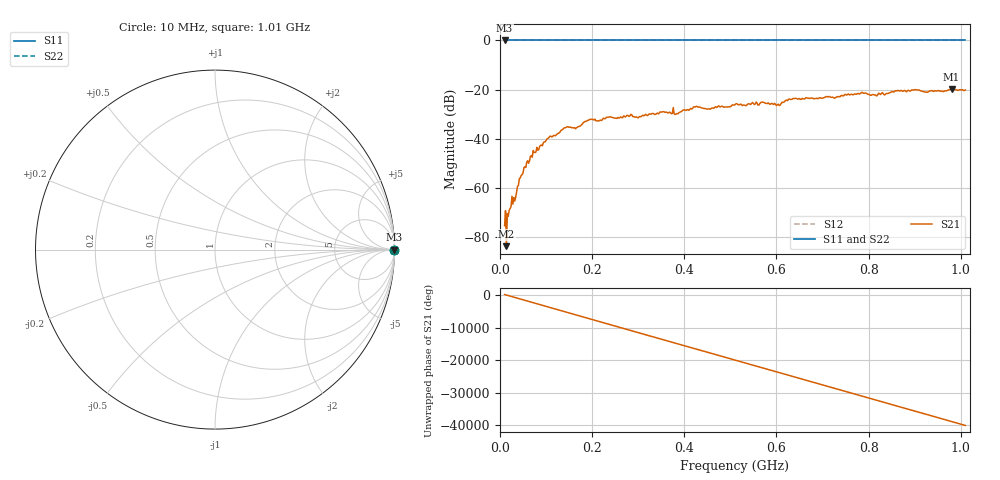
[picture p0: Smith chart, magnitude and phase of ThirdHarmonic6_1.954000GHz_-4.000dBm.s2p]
! 8/16/2025 11:31:20 PM
! C:\ANRITSUVNA\TEMP\TEMP.S2P
! CHANNEL.1
! TR.MEASUREMENT
! RAW.DATA
! RF.CORRECTION.OFF
! AVERAGING.OFF
! IF.BANDWIDTH: 5KHZ
! SWEEPTYPE:  FREQ.SWEEP(Linear)
! Reference Plane Port Info
! PORT:  PORT1  PORT2
! DISTANCE:  0  m  0  m
! TIME:  0  s  0  s
! PHASE.OFFSET:  0  deg.  0  deg.
! LOSS:  0  dB  0  dB
! REF.LOSS:  0  dB  0  dB
! REF.FREQ:  0  Hz  0  Hz
! Power Info
! POWER:  -20  dBm  -20  dBm
! EFF.POWER:  -20  dBm  -20  dBm
! SOURCE.ATTEN:  0  dB  0  dB
! TEST.ATTEN:  0  dB  0  dB
# GHZ S RI R 50.0
! FREQ.GHZ  S11RE  S11IM  S21RE  S21IM  S12RE  S12IM  S22RE  S22IM
!; PortSelection: Port_12
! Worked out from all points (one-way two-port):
!   501 points, 10 MHz to 1.01 GHz, reference 50 ohm
!   highest |S21| = -19.86 dB at 980 MHz (marker M1); lowest = -83.7 dB at 14 MHz (marker M2)
!   lowest |S11| = 0.0 dB at 10 MHz (marker M3)
!   |S11| at or under -10 dB: nowhere
!   |S22| runs from 0.0 to 0.0 dB; largest |S21 - S12| = 1.1
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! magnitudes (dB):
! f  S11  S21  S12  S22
! 10 MHz  0.0  -75.3  0.0  0.0
! 14 MHz  0.0  -83.7  0.0  0.0
! 18 MHz  0.0  -71.5  0.0  0.0
! 22 MHz  0.0  -68.4  0.0  0.0
! 32 MHz  0.0  -65.3  0.0  0.0
! 46 MHz  0.0  -54.9  0.0  0.0
! 70 MHz  0.0  -47.5  0.0  0.0
! 106 MHz  0.0  -39.6  0.0  0.0
! 142 MHz  0.0  -35.5  0.0  0.0
! 178 MHz  0.0  -34.1  0.0  0.0
! 198 MHz  0.0  -32.1  0.0  0.0
! 344 MHz  0.0  -29.9  0.0  0.0
! 382 MHz  0.0  -29.9  0.0  0.0
! 424 MHz  0.0  -27.1  0.0  0.0
! 452 MHz  0.0  -27.8  0.0  0.0
! 510 MHz  0.0  -26.1  0.0  0.0
! 604 MHz  0.0  -25.9  0.0  0.0
! 630 MHz  0.0  -24.0  0.0  0.0
! 678 MHz  0.0  -23.4  0.0  0.0
! 844 MHz  0.0  -21.4  0.0  0.0
! 980 MHz  0.0  -19.9  0.0  0.0
! 1.01 GHz  0.0  -20.1  0.0  0.0
